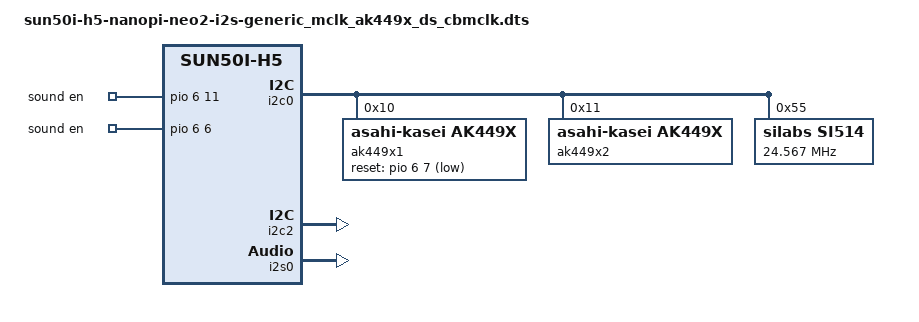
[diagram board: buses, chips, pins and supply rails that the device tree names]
/*
 * Copyright (C) 2016 ARM Ltd.
 *
 * This file is dual-licensed: you can use it either under the terms
 * of the GPL or the X11 license, at your option. Note that this dual
 * licensing only applies to this file, and not this project as a
 * whole.
 *
 *  a) This file is free software; you can redistribute it and/or
 *     modify it under the terms of the GNU General Public License as
 *     published by the Free Software Foundation; either version 2 of the
 *     License, or (at your option) any later version.
 *
 *     This file is distributed in the hope that it will be useful,
 *     but WITHOUT ANY WARRANTY; without even the implied warranty of
 *     MERCHANTABILITY or FITNESS FOR A PARTICULAR PURPOSE.  See the
 *     GNU General Public License for more details.
 *
 * Or, alternatively,
 *
 *  b) Permission is hereby granted, free of charge, to any person
 *     obtaining a copy of this software and associated documentation
 *     files (the "Software"), to deal in the Software without
 *     restriction, including without limitation the rights to use,
 *     copy, modify, merge, publish, distribute, sublicense, and/or
 *     sell copies of the Software, and to permit persons to whom the
 *     Software is furnished to do so, subject to the following
 *     conditions:
 *
 *     The above copyright notice and this permission notice shall be
 *     included in all copies or substantial portions of the Software.
 *
 *     THE SOFTWARE IS PROVIDED "AS IS", WITHOUT WARRANTY OF ANY KIND,
 *     EXPRESS OR IMPLIED, INCLUDING BUT NOT LIMITED TO THE WARRANTIES
 *     OF MERCHANTABILITY, FITNESS FOR A PARTICULAR PURPOSE AND
 *     NONINFRINGEMENT. IN NO EVENT SHALL THE AUTHORS OR COPYRIGHT
 *     HOLDERS BE LIABLE FOR ANY CLAIM, DAMAGES OR OTHER LIABILITY,
 *     WHETHER IN AN ACTION OF CONTRACT, TORT OR OTHERWISE, ARISING
 *     FROM, OUT OF OR IN CONNECTION WITH THE SOFTWARE OR THE USE OR
 *     OTHER DEALINGS IN THE SOFTWARE.
 */

/dts-v1/;
#include "sun50i-h5-nanopi-neo2.dts"

/ {
	pcm5102a: pcm5102a-codec {
                status = "disabled";
	};

	sound {
		compatible = "i2smfdl,multi-function-dai-link";
		i2s-controller = <&i2s0>;
		i2s-codec = <&ak449x1 &ak449x2>;
		status = "okay";

		fixed-freqs = <22579200>, <24576000>;
		en-gpios = <&pio 6 11 GPIO_ACTIVE_HIGH>, <&pio 6 6 GPIO_ACTIVE_HIGH>;
		clocks = <&si514>;

		min_clk = <20000000>; /* min mclk/bclk */
		min_fs  = <64>; /* 0 = slotwidth * 2 */
		max_fs  = <2048>;

		daifmt_master_override = "CBM_CFS";
	};
};

&codec {
	status = "disabled";
};

&pio {
	spi0_cs_pins: spi0_cs_pins {
		pins = "PC3";
	};

	/* PA6 for MCLK out */
	i2s0_pins: i2s0 {
		pins = "PA18", "PA19", "PA20", "PA21";
	};
};

&i2c0 {
	status = "okay";

        ak449x1: ak449x-codec@10 {
                #sound-dai-cells = <0>;
                compatible = "asahi-kasei,ak449x";
                reg = <0x10>; /* I2C addr */
                status = "okay";

                chip = "AK4495"; /* AK4490/AK4495/AK4497/AK4493 */
                chmode = "STEREO"; /* STEREO/STEREO_INVERT/MONO_LCH/MONO_RCH */
/*                phase = "LNRN"; */ /* LNRN LNRI LIRN LIRI - N=non-invert I=invert*/
                reset-gpios = <&pio 6 7 GPIO_ACTIVE_LOW>; /* PG7 */ /* pdn pin */
/*                mute-gpios = <&pio 6 6 GPIO_ACTIVE_HIGH>; */ /* PG6 */ /* external mute */
        };
        ak449x2: ak449x-codec@11 {
                #sound-dai-cells = <0>;
                compatible = "asahi-kasei,ak449x";
                reg = <0x11>; /* I2C addr */
                status = "okay";

                chip = "AK4495"; /* AK4490/AK4495/AK4497/AK4493 */
                chmode = "STEREO"; /* STEREO/STEREO_INVERT/MONO_LCH/MONO_RCH */
/*                phase = "LNRN"; */ /* LNRN LNRI LIRN LIRI - N=non-invert I=invert*/
/*                reset-gpios = <&pio 6 11 GPIO_ACTIVE_LOW>; */ /* PG7 */ /* pdn pin */
/*                mute-gpios = <&pio 6 6 GPIO_ACTIVE_HIGH>; */ /* PG6 */ /* external mute */
        };

	si514: clock-generator@55 {
		#clock-cells = <0>;
		compatible = "silabs,si514";
		temperature-stability = <50>;
		reg = <0x55>;
		factory-fout = <10000000>;
		clock-frequency = <24567000>;
	};
};

&i2c1 {
    /* no I2C1 for I2S0 */
    status = "disabled";
};

&i2c2 {
    status = "okay";
};

&spi0 {
    cs-gpios = <&pio 2 3 GPIO_ACTIVE_HIGH>;
    pitft: pitft@0{
	/* PG11 disable */
        status = "disabled";
	};

    pitft_ts: pitft-ts@1 {
        status = "disabled";
    };
};

&i2s0 {
	status = "okay";
	clk_always_on = <1>;
};


